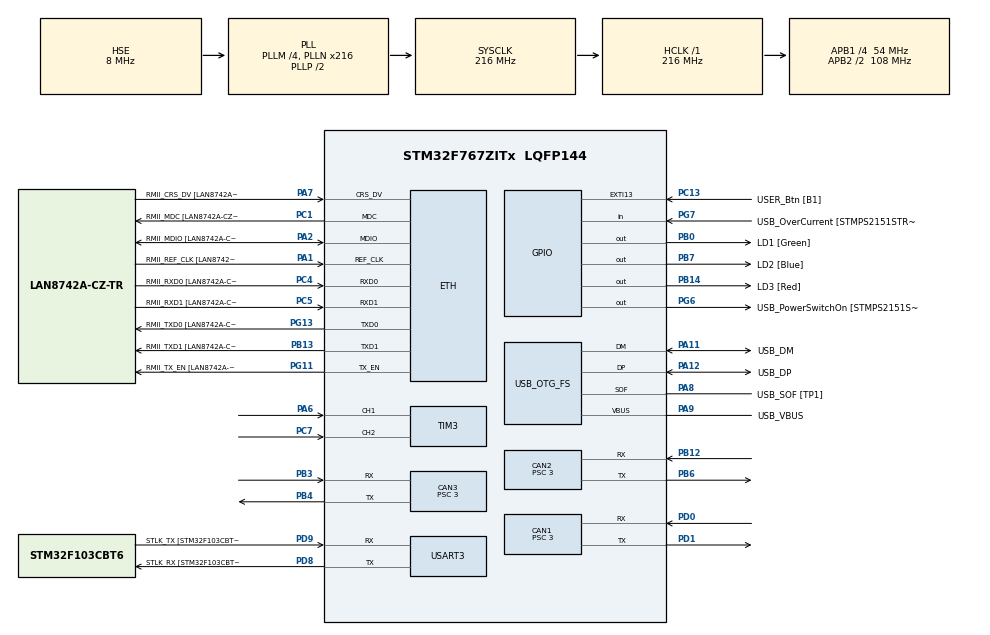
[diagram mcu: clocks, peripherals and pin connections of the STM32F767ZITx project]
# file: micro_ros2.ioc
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CAN1.BS1=CAN_BS1_14TQ
CAN1.BS2=CAN_BS2_3TQ
CAN1.CalculateBaudRate=1000000
CAN1.CalculateTimeBit=1000
CAN1.CalculateTimeQuantum=55.55555555555556
CAN1.Prescaler=3
CAN2.BS1=CAN_BS1_14TQ
CAN2.BS2=CAN_BS2_3TQ
CAN2.CalculateBaudRate=1000000
CAN2.CalculateTimeBit=1000
CAN2.CalculateTimeQuantum=55.55555555555556
CAN2.Prescaler=3
CAN3.BS1=CAN_BS1_16TQ
CAN3.CalculateBaudRate=1000000
CAN3.CalculateTimeBit=1000
CAN3.CalculateTimeQuantum=55.55555555555556
CAN3.Prescaler=3
CORTEX_M7.default_mode_Activation=1
Dma.Request0=USART3_RX
Dma.Request1=USART3_TX
Dma.USART3_RX.0.Direction=DMA_PERIPH_TO_MEMORY
Dma.USART3_RX.0.FIFOMode=DMA_FIFOMODE_DISABLE
Dma.USART3_RX.0.Instance=DMA1_Stream1
Dma.USART3_RX.0.MemDataAlignment=DMA_MDATAALIGN_BYTE
Dma.USART3_RX.0.MemInc=DMA_MINC_ENABLE
Dma.USART3_RX.0.Mode=DMA_CIRCULAR
Dma.USART3_RX.0.PeriphDataAlignment=DMA_PDATAALIGN_BYTE
Dma.USART3_RX.0.PeriphInc=DMA_PINC_DISABLE
Dma.USART3_RX.0.Priority=DMA_PRIORITY_VERY_HIGH
Dma.USART3_TX.1.Direction=DMA_MEMORY_TO_PERIPH
Dma.USART3_TX.1.FIFOMode=DMA_FIFOMODE_DISABLE
Dma.USART3_TX.1.Instance=DMA1_Stream3
Dma.USART3_TX.1.MemDataAlignment=DMA_MDATAALIGN_BYTE
Dma.USART3_TX.1.MemInc=DMA_MINC_ENABLE
Dma.USART3_TX.1.Mode=DMA_NORMAL
Dma.USART3_TX.1.PeriphDataAlignment=DMA_PDATAALIGN_BYTE
Dma.USART3_TX.1.PeriphInc=DMA_PINC_DISABLE
Dma.USART3_TX.1.Priority=DMA_PRIORITY_VERY_HIGH
ETH.MediaInterface=HAL_ETH_RMII_MODE
FREERTOS.Tasks01=defaultTask,0,3000,StartDefaultTask,Default,NULL,Static,defaultTaskBuffer,defaultTaskControlBlock
FREERTOS.configTOTAL_HEAP_SIZE=128000
FREERTOS.configUSE_NEWLIB_REENTRANT=1
LWIP.BSP.number=1
LWIP.GATEWAY_ADDRESS=192.168.001.001
LWIP.IP_ADDRESS=192.168.001.010
LWIP.LWIP_DHCP=0
LWIP.LWIP_NETIF_LOOPBACK=0
LWIP.MEMP_NUM_PBUF=16
LWIP.MEM_SIZE=10240
LWIP.NETMASK_ADDRESS=255.255.255.000
LWIP.PBUF_POOL_SIZE=32
LWIP.Version=v2.1.2_Cube
LWIP0.BSP.STBoard=false
LWIP0.BSP.api=BSP_COMPONENT_DRIVER
LWIP0.BSP.component=LAN8742
LWIP0.BSP.instance=LAN8742
LWIP0.BSP.name=Driver_PHY
LWIP0.BSP.semaphore=S_LAN8742
LWIP0.BSP.solution=LAN8742
Mcu.Family=STM32F7
Mcu.Name=STM32F767ZITx
Mcu.Package=LQFP144
NVIC.DMA1_Stream1_IRQn=true\:5\:0\:false\:false\:true\:true\:false\:true\:true
NVIC.DMA1_Stream3_IRQn=true\:5\:0\:false\:false\:true\:true\:false\:true\:true
NVIC.ETH_IRQn=true\:5\:0\:false\:false\:true\:true\:false\:true\:true
NVIC.OTG_FS_IRQn=true\:5\:0\:false\:false\:true\:true\:false\:true\:true
NVIC.PriorityGroup=NVIC_PRIORITYGROUP_4
NVIC.TIM1_UP_TIM10_IRQn=true\:15\:0\:false\:false\:true\:false\:false\:true\:true
NVIC.TimeBase=TIM1_UP_TIM10_IRQn
NVIC.TimeBaseIP=TIM1
NVIC.USART3_IRQn=true\:5\:0\:false\:false\:true\:true\:true\:true\:true
PA1.GPIO_Label=RMII_REF_CLK [LAN8742A-CZ-TR_REFCLK0]
PA1.Mode=RMII
PA1.Signal=ETH_REF_CLK
PA10.GPIO_Label=USB_ID
PA10.Signal=USB_OTG_FS_ID
PA11.GPIO_Label=USB_DM
PA11.Mode=Device_Only
PA11.Signal=USB_OTG_FS_DM
PA12.GPIO_Label=USB_DP
PA12.Mode=Device_Only
PA12.Signal=USB_OTG_FS_DP
PA13.GPIO_Label=TMS
PA13.Mode=Serial_Wire
PA13.Signal=SYS_JTMS-SWDIO
PA14.GPIO_Label=TCK
PA14.Mode=Serial_Wire
PA14.Signal=SYS_JTCK-SWCLK
PA2.GPIO_Label=RMII_MDIO [LAN8742A-CZ-TR_MDIO]
PA2.Mode=RMII
PA2.Signal=ETH_MDIO
PA6.GPIO_PuPd=GPIO_NOPULL
PA6.Signal=S_TIM3_CH1
PA7.GPIO_Label=RMII_CRS_DV [LAN8742A-CZ-TR_CRS_DV]
PA7.Mode=RMII
PA7.Signal=ETH_CRS_DV
PA8.GPIO_Label=USB_SOF [TP1]
PA8.Mode=Activate_SOF_FS
PA8.Signal=USB_OTG_FS_SOF
PA9.GPIO_Label=USB_VBUS
PA9.Mode=Activate_VBUS
PA9.Signal=USB_OTG_FS_VBUS
PB0.GPIO_Label=LD1 [Green]
PB0.Signal=GPIO_Output
PB12.Mode=CAN_Activate
PB12.Signal=CAN2_RX
PB13.GPIO_Label=RMII_TXD1 [LAN8742A-CZ-TR_TXD1]
PB13.Mode=RMII
PB13.Signal=ETH_TXD1
PB14.GPIO_Label=LD3 [Red]
PB14.Signal=GPIO_Output
PB3.Mode=CAN_Activate
PB3.Signal=CAN3_RX
PB4.Mode=CAN_Activate
PB4.Signal=CAN3_TX
PB6.Mode=CAN_Activate
PB6.Signal=CAN2_TX
PB7.GPIO_Label=LD2 [Blue]
PB7.Signal=GPIO_Output
PC1.GPIO_Label=RMII_MDC [LAN8742A-CZ-TR_MDC]
PC1.Mode=RMII
PC1.Signal=ETH_MDC
PC13.GPIO_Label=USER_Btn [B1]
PC13.Signal=GPXTI13
PC14/OSC32_IN.Mode=LSE-External-Oscillator
PC14/OSC32_IN.Signal=RCC_OSC32_IN
PC15/OSC32_OUT.Mode=LSE-External-Oscillator
PC15/OSC32_OUT.Signal=RCC_OSC32_OUT
PC4.GPIO_Label=RMII_RXD0 [LAN8742A-CZ-TR_RXD0]
PC4.Mode=RMII
PC4.Signal=ETH_RXD0
PC5.GPIO_Label=RMII_RXD1 [LAN8742A-CZ-TR_RXD1]
PC5.Mode=RMII
PC5.Signal=ETH_RXD1
PC7.GPIO_PuPd=GPIO_NOPULL
PC7.Signal=S_TIM3_CH2
PD0.Mode=CAN_Activate
PD0.Signal=CAN1_RX
PD1.Mode=CAN_Activate
PD1.Signal=CAN1_TX
PD8.GPIO_Label=STLK_RX [STM32F103CBT6_PA3]
PD8.Mode=Asynchronous
PD8.Signal=USART3_TX
PD9.GPIO_Label=STLK_TX [STM32F103CBT6_PA2]
PD9.Mode=Asynchronous
PD9.Signal=USART3_RX
PG11.GPIO_Label=RMII_TX_EN [LAN8742A-CZ-TR_TXEN]
PG11.Mode=RMII
PG11.Signal=ETH_TX_EN
PG13.GPIO_Label=RMII_TXD0 [LAN8742A-CZ-TR_TXD0]
PG13.Mode=RMII
PG13.Signal=ETH_TXD0
PG6.GPIO_Label=USB_PowerSwitchOn [STMPS2151STR_EN]
PG6.Signal=GPIO_Output
PG7.GPIO_Label=USB_OverCurrent [STMPS2151STR_FAULT]
PG7.Signal=GPIO_Input
PH0/OSC_IN.GPIO_Label=MCO [STM32F103CBT6_PA8]
PH0/OSC_IN.Mode=HSE-External-Oscillator
PH0/OSC_IN.Signal=RCC_OSC_IN
PH1/OSC_OUT.Mode=HSE-External-Oscillator
PH1/OSC_OUT.Signal=RCC_OSC_OUT
ProjectManager.HeapSize=0x200
ProjectManager.StackSize=0x400
ProjectManager.TargetToolchain=CMake
RCC.48MHZClocksFreq_Value=24000000
RCC.AHBFreq_Value=216000000
RCC.APB1CLKDivider=RCC_HCLK_DIV4
RCC.APB1Freq_Value=54000000
RCC.APB1TimFreq_Value=108000000
RCC.APB2CLKDivider=RCC_HCLK_DIV2
RCC.APB2Freq_Value=108000000
RCC.APB2TimFreq_Value=216000000
RCC.CortexFreq_Value=216000000
RCC.HCLKFreq_Value=216000000
RCC.HSE_VALUE=8000000
RCC.HSI_VALUE=16000000
RCC.PLLM=4
RCC.PLLMUL=RCC_PLL_MUL9
RCC.PLLN=216
RCC.PLLQ=9
RCC.PRESCALERUSB=RCC_USBCLKSOURCE_PLL_DIV1_5
RCC.SYSCLKFreq_VALUE=216000000
RCC.SYSCLKSource=RCC_SYSCLKSOURCE_PLLCLK
RCC.SYSCLKSourceVirtual=RCC_SYSCLKSOURCE_PLLCLK
RCC.USBFreq_Value=48000000
RCC.VCOOutputFreq_Value=432000000
SH.S_TIM3_CH1.0=TIM3_CH1,Encoder_Interface
SH.S_TIM3_CH2.0=TIM3_CH2,Encoder_Interface
TIM3.EncoderMode=TIM_ENCODERMODE_TI12
USART3.VirtualMode-Asynchronous=VM_ASYNC
USB_DEVICE.CLASS_NAME_FS=CDC
USB_DEVICE.VirtualMode-CDC_FS=Cdc
USB_DEVICE.VirtualModeFS=Cdc_FS
USB_OTG_FS.VirtualMode=Device_Only
VP_FREERTOS_VS_CMSIS_V1.Mode=CMSIS_V1
VP_LWIP_VS_Enabled.Mode=Enabled
VP_SYS_VS_tim1.Mode=TIM1
VP_USB_DEVICE_VS_USB_DEVICE_CDC_FS.Mode=CDC_FS
board=NUCLEO-F767ZI

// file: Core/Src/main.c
/* USER CODE BEGIN Header */
/**
 ******************************************************************************
 * @file           : main.c
 * @brief          : Main program body
 ******************************************************************************
 * @attention
 *
 * Copyright (c) 2026 STMicroelectronics.
 * All rights reserved.
 *
 * This software is licensed under terms that can be found in the LICENSE file
 * in the root directory of this software component.
 * If no LICENSE file comes with this software, it is provided AS-IS.
 *
 ******************************************************************************
 */
/* USER CODE END Header */
#include "main.h"
#include "cmsis_os.h"
#include "can.h"
#include "dma.h"
#include "lwip.h"
#include "tim.h"
#include "usart.h"
#include "usb_device.h"
#include "gpio.h"

void SystemClock_Config(void);
static void MPU_Config(void);
void MX_FREERTOS_Init(void);

int main(void)
{

  /* MPU Configuration--------------------------------------------------------*/
  MPU_Config();

  /* MCU Configuration--------------------------------------------------------*/

  /* Reset of all peripherals, Initializes the Flash interface and the Systick. */
  HAL_Init();

  /* Configure the system clock */
  SystemClock_Config();

  /* Initialize all configured peripherals */
  MX_GPIO_Init();
  MX_DMA_Init();
  MX_USART3_UART_Init();
  MX_CAN1_Init();
  MX_CAN2_Init();
  MX_TIM3_Init();
  MX_CAN3_Init();
  /* USER CODE BEGIN 2 */
  char *test_msg = "=== System Booting ===\r\n";
  HAL_UART_Transmit(&huart3, (uint8_t *)test_msg, strlen(test_msg), 1000);
  /* USER CODE END 2 */

  /* Call init function for freertos objects (in cmsis_os2.c) */
  MX_FREERTOS_Init();

  /* Start scheduler */
  osKernelStart();

  /* We should never get here as control is now taken by the scheduler */

  /* Infinite loop */
  while (1) {

  }
}

void SystemClock_Config(void)
{
  RCC_OscInitTypeDef RCC_OscInitStruct = {0};
  RCC_ClkInitTypeDef RCC_ClkInitStruct = {0};

  /** Configure LSE Drive Capability
  */
  HAL_PWR_EnableBkUpAccess();

  /** Configure the main internal regulator output voltage
  */
  __HAL_RCC_PWR_CLK_ENABLE();
  __HAL_PWR_VOLTAGESCALING_CONFIG(PWR_REGULATOR_VOLTAGE_SCALE1);

  /** Initializes the RCC Oscillators according to the specified parameters
  * in the RCC_OscInitTypeDef structure.
  */
  RCC_OscInitStruct.OscillatorType = RCC_OSCILLATORTYPE_HSE;
  RCC_OscInitStruct.HSEState = RCC_HSE_ON;
  RCC_OscInitStruct.PLL.PLLState = RCC_PLL_ON;
  RCC_OscInitStruct.PLL.PLLSource = RCC_PLLSOURCE_HSE;
  RCC_OscInitStruct.PLL.PLLM = 4;
  RCC_OscInitStruct.PLL.PLLN = 216;
  RCC_OscInitStruct.PLL.PLLP = RCC_PLLP_DIV2;
  RCC_OscInitStruct.PLL.PLLQ = 9;
  RCC_OscInitStruct.PLL.PLLR = 2;
  if (HAL_RCC_OscConfig(&RCC_OscInitStruct) != HAL_OK)
  {
    Error_Handler();
  }

  /** Activate the Over-Drive mode
  */
  if (HAL_PWREx_EnableOverDrive() != HAL_OK)
  {
    Error_Handler();
  }

  /** Initializes the CPU, AHB and APB buses clocks
  */
  RCC_ClkInitStruct.ClockType = RCC_CLOCKTYPE_HCLK|RCC_CLOCKTYPE_SYSCLK
                              |RCC_CLOCKTYPE_PCLK1|RCC_CLOCKTYPE_PCLK2;
  RCC_ClkInitStruct.SYSCLKSource = RCC_SYSCLKSOURCE_PLLCLK;
  RCC_ClkInitStruct.AHBCLKDivider = RCC_SYSCLK_DIV1;
  RCC_ClkInitStruct.APB1CLKDivider = RCC_HCLK_DIV4;
  RCC_ClkInitStruct.APB2CLKDivider = RCC_HCLK_DIV2;

  if (HAL_RCC_ClockConfig(&RCC_ClkInitStruct, FLASH_LATENCY_7) != HAL_OK)
  {
    Error_Handler();
  }
}

/* USER CODE BEGIN 4 */
#ifdef __GNUC__
#define PUTCHAR_PROTOTYPE int __io_putchar(int ch)
#else
#define PUTCHAR_PROTOTYPE int fputc(int ch, FILE *f)
#endif

PUTCHAR_PROTOTYPE {
  HAL_UART_Transmit(&huart3, (uint8_t *)&ch, 1, 0xFFFF);
  return ch;
}
/* USER CODE END 4 */

 /* MPU Configuration */

void MPU_Config(void)
{
  MPU_Region_InitTypeDef MPU_InitStruct = {0};

  /* Disables the MPU */
  HAL_MPU_Disable();

  /** Initializes and configures the Region and the memory to be protected
  */
  MPU_InitStruct.Enable = MPU_REGION_ENABLE;
  MPU_InitStruct.Number = MPU_REGION_NUMBER0;
  MPU_InitStruct.BaseAddress = 0x0;
  MPU_InitStruct.Size = MPU_REGION_SIZE_4GB;
  MPU_InitStruct.SubRegionDisable = 0x87;
  MPU_InitStruct.TypeExtField = MPU_TEX_LEVEL0;
  MPU_InitStruct.AccessPermission = MPU_REGION_NO_ACCESS;
  MPU_InitStruct.DisableExec = MPU_INSTRUCTION_ACCESS_DISABLE;
  MPU_InitStruct.IsShareable = MPU_ACCESS_SHAREABLE;
  MPU_InitStruct.IsCacheable = MPU_ACCESS_NOT_CACHEABLE;
  MPU_InitStruct.IsBufferable = MPU_ACCESS_NOT_BUFFERABLE;

  HAL_MPU_ConfigRegion(&MPU_InitStruct);
  /* Enables the MPU */
  HAL_MPU_Enable(MPU_PRIVILEGED_DEFAULT);

}

void HAL_TIM_PeriodElapsedCallback(TIM_HandleTypeDef *htim)
{
  if (htim->Instance == TIM1)
  {
    HAL_IncTick();
  }
}

void Error_Handler(void)
{
  __disable_irq();
  while (1) {
  }
}
#ifdef USE_FULL_ASSERT
/**
  * @brief  Reports the name of the source file and the source line number
  *         where the assert_param error has occurred.
  * @param  file: pointer to the source file name
  * @param  line: assert_param error line source number
  * @retval None
  */
void assert_failed(uint8_t *file, uint32_t line)
{
  /* USER CODE BEGIN 6 */
  /* User can add his own implementation to report the file name and line
     number, ex: printf("Wrong parameters value: file %s on line %d\r\n", file,
     line) */
  /* USER CODE END 6 */
}
#endif /* USE_FULL_ASSERT */

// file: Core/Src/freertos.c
/* USER CODE BEGIN Header */
/**
 ******************************************************************************
 * File Name          : freertos.c
 * Description        : Code for freertos applications
 ******************************************************************************
 * @attention
 *
 * Copyright (c) 2026 STMicroelectronics.
 * All rights reserved.
 *
 * This software is licensed under terms that can be found in the LICENSE file
 * in the root directory of this software component.
 * If no LICENSE file comes with this software, it is provided AS-IS.
 *
 ******************************************************************************
 */
/* USER CODE END Header */

#include "FreeRTOS.h"
#include "cmsis_os.h"
#include "main.h"
#include "task.h"

/* USER CODE BEGIN Includes */
#include "lwip.h"
#include "usart.h"
#include <lwip/ip_addr.h>
#include <lwip/netif.h>
#include <rcl/error_handling.h>
#include <rcl/rcl.h>
#include <rclc/executor.h>
#include <rclc/rclc.h>
#include <rmw_microros/rmw_microros.h>
#include <rmw_microxrcedds_c/config.h>
#include <std_msgs/msg/int32.h>
#include <std_msgs/msg/string.h>
#include <stdbool.h>
#include <stdint.h>
#include <stdio.h>
#include <string.h>
#include <uxr/client/transport.h>

#include "app.h"
#include "key.h"

extern struct netif gnetif;
extern UART_HandleTypeDef huart3;
void MX_LWIP_Process(void);
/* USER CODE END Includes */

/* USER CODE BEGIN PD */
void debug_print(const char *msg) {
  HAL_UART_Transmit(&huart3, (const uint8_t *)msg, strlen(msg), HAL_MAX_DELAY);
}
void debug_print_error(const char *msg, int rc) {
  char buf[128];
  snprintf(buf, sizeof(buf), "Error: %s, rc: %d\r\n", msg, rc);
  HAL_UART_Transmit(&huart3, (const uint8_t *)buf, strlen(buf), HAL_MAX_DELAY);
}
/* USER CODE END PD */

/* USER CODE BEGIN Variables */
/* UDP トランスポート関数の宣言 */
bool cubemx_transport_open(struct uxrCustomTransport *transport);
bool cubemx_transport_close(struct uxrCustomTransport *transport);
size_t cubemx_transport_write(struct uxrCustomTransport *transport,
                              const uint8_t *buf, size_t len, uint8_t *err);
size_t cubemx_transport_read(struct uxrCustomTransport *transport, uint8_t *buf,
                             size_t len, int timeout, uint8_t *err);

/* エラーハンドリング用のマクロ */
#define RCCHECK(fn)                                                            \
  {                                                                            \
    rcl_ret_t temp_rc = fn;                                                    \
    if ((temp_rc != RCL_RET_OK)) {                                             \
      debug_print_error(#fn, temp_rc);                                         \
      while (1) {                                                              \
        osDelay(100);                                                          \
      }                                                                        \
    }                                                                          \
  }
#define RCSOFTCHECK(fn)                                                        \
  {                                                                            \
    rcl_ret_t temp_rc = fn;                                                    \
    if ((temp_rc != RCL_RET_OK)) {                                             \
      debug_print_error(#fn, temp_rc);                                         \
    }                                                                          \
  }

/* micro-ROS関連の変数 */

rcl_allocator_t allocator;
rclc_support_t support;
rcl_node_t node;
std_msgs__msg__Int32 pub_msg;

/* メモリ管理用のプロトタイプ宣言 */
extern void *microros_allocate(size_t size, void *state);
extern void microros_deallocate(void *pointer, void *state);
extern void *microros_reallocate(void *pointer, size_t size, void *state);
extern void *microros_zero_allocate(size_t number_of_elements,
                                    size_t size_of_element, void *state);

rcl_subscription_t button_subscription;
rcl_subscription_t sticks_subscription;

std_msgs__msg__String button_subscription_msg;
std_msgs__msg__String sticks_subscription_msg;

rclc_executor_t executor;
extern CAN_HandleTypeDef hcan1;
volatile uint8_t shared_can_data[8] = {0, 0, 0, 0,
                                       0, 0, 0, 0}; // 送信データの共有バッファ
osThreadId canTxTaskHandle; // CAN送信タスクのハンドル
/* USER CODE END Variables */
osThreadId defaultTaskHandle;
uint32_t defaultTaskBuffer[3000];
osStaticThreadDef_t defaultTaskControlBlock;

/* USER CODE BEGIN FunctionPrototypes */

// C互換の関数ラッパー
extern void key_puress_c(const char *msg);
extern void stick_parse(const char *msg);

void button_subscription_callback(const void *msgin) {
  const std_msgs__msg__String *msg = (const std_msgs__msg__String *)msgin;

  // メッセージサイズをチェック
  if (msg == NULL || msg->data.size == 0) {
    return;
  }

  // バッファをコピーして null 終端を保証
  static char temp_buffer[256];
  size_t copy_size = (msg->data.size < sizeof(temp_buffer) - 1)
                         ? msg->data.size
                         : sizeof(temp_buffer) - 1;
  memcpy(temp_buffer, msg->data.data, copy_size);
  temp_buffer[copy_size] = '\0'; // null 終端を追加

  // printf("[button] received: %s\r\n", temp_buffer);
  fflush(stdout);

  key_puress_c((const char *)temp_buffer);
}

void sticks_subscription_callback(const void *msgin) {
  const std_msgs__msg__String *msg = (const std_msgs__msg__String *)msgin;

  // メッセージサイズをチェック
  if (msg == NULL || msg->data.size == 0) {
    return;
  }

  // バッファをコピーして null 終端を保証
  static char temp_buffer[256];
  size_t copy_size = (msg->data.size < sizeof(temp_buffer) - 1)
                         ? msg->data.size
                         : sizeof(temp_buffer) - 1;
  memcpy(temp_buffer, msg->data.data, copy_size);
  temp_buffer[copy_size] = '\0'; // null 終端を追加

  // // printf("[sticks] received: %s\r\n", temp_buffer);
  fflush(stdout);

  stick_parse((const char *)temp_buffer);
}

void StartCanTxTask(void const *argument);
void StartPIDTask(void const *argument);
/* USER CODE END FunctionPrototypes */

void StartDefaultTask(void const *argument);

extern void MX_USB_DEVICE_Init(void);
extern void MX_LWIP_Init(void);
void MX_FREERTOS_Init(void); /* (MISRA C 2004 rule 8.1) */

/* GetIdleTaskMemory prototype (linked to static allocation support) */
void vApplicationGetIdleTaskMemory(StaticTask_t **ppxIdleTaskTCBBuffer,
                                   StackType_t **ppxIdleTaskStackBuffer,
                                   uint32_t *pulIdleTaskStackSize);

/* USER CODE BEGIN GET_IDLE_TASK_MEMORY */
static StaticTask_t xIdleTaskTCBBuffer;
static StackType_t xIdleStack[configMINIMAL_STACK_SIZE];

void vApplicationGetIdleTaskMemory(StaticTask_t **ppxIdleTaskTCBBuffer,
                                   StackType_t **ppxIdleTaskStackBuffer,
                                   uint32_t *pulIdleTaskStackSize) {
  *ppxIdleTaskTCBBuffer = &xIdleTaskTCBBuffer;
  *ppxIdleTaskStackBuffer = &xIdleStack[0];
  *pulIdleTaskStackSize = configMINIMAL_STACK_SIZE;
  /* place for user code */
}
/* USER CODE END GET_IDLE_TASK_MEMORY */

void MX_FREERTOS_Init(void) {

  /* Create the thread(s) */
  /* definition and creation of defaultTask */
  osThreadStaticDef(defaultTask, StartDefaultTask, osPriorityNormal, 0, 3000,
                    defaultTaskBuffer, &defaultTaskControlBlock);
  defaultTaskHandle = osThreadCreate(osThread(defaultTask), NULL);

  /* USER CODE BEGIN RTOS_THREADS */
  /* add threads, ... */
  osThreadDef(canTxTask, StartCanTxTask, osPriorityNormal, 0, 256);
  canTxTaskHandle = osThreadCreate(osThread(canTxTask), NULL);
  osThreadDef(pidTask, StartPIDTask, osPriorityNormal, 0, 256);
  osThreadCreate(osThread(pidTask), NULL);
  /* USER CODE END RTOS_THREADS */
}

void StartDefaultTask(void const *argument) {
  /* init code for USB_DEVICE */
  MX_USB_DEVICE_Init();

  /* init code for LWIP */
  MX_LWIP_Init();
  /* USER CODE BEGIN StartDefaultTask */
  setup_ros_and_app();

  /* ネットワークインターフェースのリンクアップを待機（リンクしたらすぐ抜ける）
   */
  debug_print("[NET] Waiting for Ethernet link...\r\n");
  while (!netif_is_up(&gnetif) || !netif_is_link_up(&gnetif)) {
    osDelay(10);
  }
  debug_print("[NET] Ethernet ready\r\n");
  osDelay(100); /* socket API等の初期化待ちとしてわずかに待機 */

  /* UDPカスタムトランスポートの設定 */
  rmw_uros_set_custom_transport(
      false, "192.168.1.5", /* <- PCのAgent IPアドレス（環境に合わせて変更） */
      cubemx_transport_open, cubemx_transport_close, cubemx_transport_write,
      cubemx_transport_read);
  debug_print("[microROS] UDP transport configured\r\n");

  /* カスタムアロケータの設定 */
  rcl_allocator_t freeRTOS_allocator = rcutils_get_zero_initialized_allocator();
  freeRTOS_allocator.allocate = microros_allocate;
  freeRTOS_allocator.deallocate = microros_deallocate;
  freeRTOS_allocator.reallocate = microros_reallocate;
  freeRTOS_allocator.zero_allocate = microros_zero_allocate;

  rcl_ret_t ret = rcutils_set_default_allocator(&freeRTOS_allocator);
  if (ret != RCL_RET_OK) {
    debug_print_error("rcutils_set_default_allocator", ret);
  }

  /* micro-ROSのセットアップ */
  allocator = rcl_get_default_allocator();
  RCCHECK(rclc_support_init(&support, 0, NULL, &allocator));
  RCCHECK(rclc_node_init_default(&node, "f7_node", "", &support));

  RCCHECK(rclc_subscription_init_best_effort(
      &button_subscription, &node,
      ROSIDL_GET_MSG_TYPE_SUPPORT(std_msgs, msg, String),
      "/controller/buttons"));

  RCCHECK(rclc_subscription_init_best_effort(
      &sticks_subscription, &node,
      ROSIDL_GET_MSG_TYPE_SUPPORT(std_msgs, msg, String),
      "/controller/sticks"));

  /* String型メッセージの受信バッファを初期化 */
  static char button_buffer[256];
  button_subscription_msg.data.data = button_buffer;
  button_subscription_msg.data.capacity = sizeof(button_buffer);

  static char sticks_buffer[256];
  sticks_subscription_msg.data.data = sticks_buffer;
  sticks_subscription_msg.data.capacity = sizeof(sticks_buffer);

  /* Executorの作成 */
  RCCHECK(rclc_executor_init(&executor, &support.context, 2, &allocator));
  RCCHECK(rclc_executor_add_subscription(
      &executor, &button_subscription, &button_subscription_msg,
      &button_subscription_callback, ON_NEW_DATA));
  RCCHECK(rclc_executor_add_subscription(
      &executor, &sticks_subscription, &sticks_subscription_msg,
      &sticks_subscription_callback, ON_NEW_DATA));

  pub_msg.data = 0;
  debug_print("[microROS] Ready and running\r\n");

  /* Infinite loop */

  for (;;) {
    // /* * Executorをスピンさせる (タイムアウト 1000ms)
    //  * PCからデータが来るまで、最大1秒間ここでタスクが「待機（ブロック）」します。
    //  * データが来た場合は、1秒待たずにすぐ抜けてコールバックが実行されます。
    //  */
    rclc_executor_spin_some(&executor, RCL_MS_TO_NS(1000));

    // /* 現在の時刻を取得 */
    // uint32_t current_time = HAL_GetTick();

    // /* 前回送信時から1000ms (1秒) 以上経過していたら送信する */
    // if (current_time - last_send_time >= 1000) {
    //   pub_msg.data++;
    //   RCSOFTCHECK(rcl_publish(&publisher, &pub_msg, NULL));
    //   last_send_time = current_time; // 送信時刻を更新
    // }

    // /* * osDelay(10)
    // は外しても構いません（spin_some内でブロックされるため）。
    //  * 他のFreeRTOSタスクに確実に処理を譲りたい場合は、osDelay(1)
    //  程度残しても良いです。
    //  */
    // osDelay(1);
  }
  /* USER CODE END StartDefaultTask */
}

/* USER CODE BEGIN Application */
void StartCanTxTask(void const *argument) {
  for (;;) {
    /* C610側でCAN送信用の処理を行う */
    loop_can_task();

    /* 20ms待機 (他のタスクに処理を譲る) */
    osDelay(20);
  }
}
void StartPIDTask(void const *argument) { pid_control_loop(argument); }
/* USER CODE END Application */
